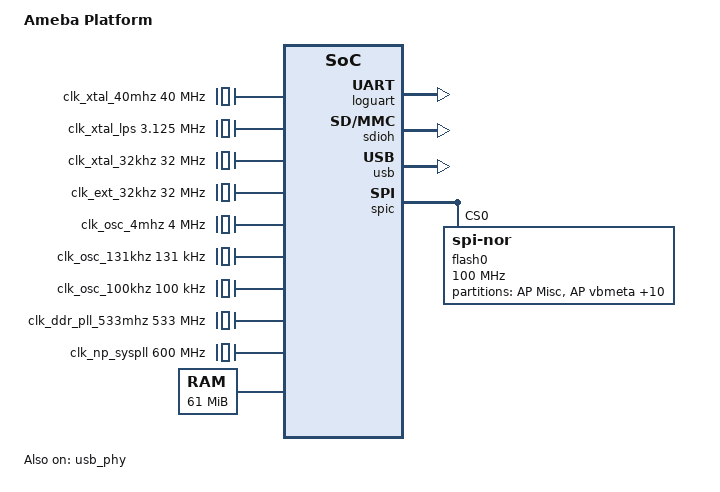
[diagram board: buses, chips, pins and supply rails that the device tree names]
// SPDX-License-Identifier: GPL-2.0-only
/*
* Realtek DTS for recovery
*
* Copyright (C) 2023, Realtek Corporation. All rights reserved.
*/

/dts-v1/;

#include <dt-bindings/interrupt-controller/arm-gic.h>
#include <dt-bindings/realtek/clock/realtek-ameba-clock.h>
#include <dt-bindings/interrupt-controller/irq.h>
#include <dt-bindings/realtek/pinctrl/realtek-ameba-pinfunc.h>

/ {
	model = "Ameba Platform";
	compatible = "realtek,ameba";

	#address-cells = <1>;
	#size-cells = <1>;
	interrupt-parent = <&gic>;

	cpus {
		#address-cells = <1>;
		#size-cells = <0>;

		cpu@0 {
			device_type = "cpu";
			compatible = "arm,cortex-a32";
			reg = <0x0>;
			enable-method = "psci";
			clock-frequency = <800000000>;
			clock-latency = <1000000>;
			clocks = <&rcc RTK_CKE_AP>,
					<&rcc RTK_CKD_AP>,
					<&rcc RTK_CKSL_AP>,
					<&rcc RTK_CLK_AP_PLL>,
					<&clk_np_syspll 0>;
			clock-names = "cpu","cpu-div","cpu-mux","ap-pll","np-pll";
			freq_tab = < 800000 840000 
						880000 920000 
						960000 1000000 
						1040000 1080000 
						1120000 1160000 
						1200000 1240000 
						1280000 1320000 
						1360000 1400000 >;
		};

		cpu@1 {
			device_type = "cpu";
			compatible = "arm,cortex-a32";
			reg = <0x1>;
			enable-method = "psci";
			clock-frequency = <800000000>;
			clock-latency = <1000000>;
			clocks = <&rcc RTK_CKE_AP>,
					<&rcc RTK_CKD_AP>,
					<&rcc RTK_CKSL_AP>,
					<&rcc RTK_CLK_AP_PLL>,
					<&clk_np_syspll 0>;
			clock-names = "cpu","cpu-div","cpu-mux","ap-pll","np-pll";
			freq_tab = < 800000 840000 
						880000 920000 
						960000 1000000 
						1040000 1080000 
						1120000 1160000 
						1200000 1240000 
						1280000 1320000 
						1360000 1400000 >;
		};

	};

	gic: gic@A0101000 {
		compatible = "arm,cortex-a15-gic";
		interrupt-controller;
		#interrupt-cells = <3>;
		reg = <0xA0101000 0x1000>,
			  <0xA0102000 0x0100>,
			  <0x41000010 4>,
			  <0x4200827C 4>;
	};

	psci {
		migrate = <0x84000005>;
		cpu_on = <0x84000003>;
		cpu_off = <0x84000002>;
		cpu_suspend = <0x84000001>;
		method = "smc";
		compatible = "arm,psci-0.2", "arm,psci";
	};

	timer {
		compatible = "arm,armv7-timer";
		clock-frequency = <50000000>;
		interrupts = <GIC_PPI 13 (GIC_CPU_MASK_SIMPLE(4) | IRQ_TYPE_LEVEL_LOW)>,
				 <GIC_PPI 14 (GIC_CPU_MASK_SIMPLE(4) | IRQ_TYPE_LEVEL_LOW)>,
				 <GIC_PPI 11 (GIC_CPU_MASK_SIMPLE(4) | IRQ_TYPE_LEVEL_LOW)>,
				 <GIC_PPI 10 (GIC_CPU_MASK_SIMPLE(4) | IRQ_TYPE_LEVEL_LOW)>;
	};

	clocks {
		clk_xtal_40mhz: crystal_40mhz {
			#clock-cells = <0>;
			compatible = "fixed-clock";
			clock-frequency = <40000000>;
			clock-output-names = "XTAL_40M";
		};

		clk_xtal_lps: crystal_lps {
			#clock-cells = <0>;
			compatible = "fixed-clock";
			clock-frequency = <3125000>;
			clock-output-names = "XTAL_LPS";
		};

		clk_xtal_32khz: crystal_32khz {
			#clock-cells = <0>;
			compatible = "fixed-clock";
			clock-frequency = <32000000>;
			clock-output-names = "XTAL_32K";
		};

		clk_ext_32khz: ext_32khz {
			#clock-cells = <0>;
			compatible = "fixed-clock";
			clock-frequency = <32000000>;
			clock-output-names = "EXT_32K";
		};

		clk_osc_4mhz: oscillator_4mhz {
			#clock-cells = <0>;
			compatible = "fixed-clock";
			clock-frequency = <4000000>;
			clock-output-names = "OSC_4M";
		};

		clk_osc_131khz: oscillator_131khz {
			#clock-cells = <0>;
			compatible = "fixed-clock";
			clock-frequency = <131000>;
			clock-output-names = "OSC_131K";
		};

		clk_osc_100khz: oscillator_100khz {
			#clock-cells = <0>;
			compatible = "fixed-clock";
			clock-frequency = <100000>;
			clock-output-names = "OSC_100K";
		};

		clk_ddr_pll_533mhz: ddr_pll_533mhz {
			#clock-cells = <0>;
			compatible = "fixed-clock";
			clock-frequency = <533000000>;
			clock-output-names = "DDR_PLL_533M";
		};

		clk_np_syspll: np_syspll_600mhz {
			#clock-cells = <0>;
			compatible = "fixed-clock";
			clock-frequency = <600000000>;
			clock-output-names = "NP_SYSPLL";
		};

		clk_i2s_pll0: i2s_pll0 {
			#clock-cells = <0>;
			compatible = "fixed-clock";
			clock-frequency = <98304000>;
			clock-output-names = "I2S_PLL0";
		};

		clk_i2s_pll1: i2s_pll1 {
			#clock-cells = <0>;
			compatible = "fixed-clock";
			clock-frequency = <45158400>;
			clock-output-names = "I2S_PLL1";
		};

		clk_i2s_pll2: i2s_pll2 {
			#clock-cells = <0>;
			compatible = "fixed-clock";
			clock-frequency = <24576000>;
			clock-output-names = "I2S_PLL2";
		};
	};

	ocp {
		compatible = "simple-bus";
		#address-cells = <1>;
		#size-cells = <1>;
		ranges;

		rcc: rcc@41000000 {
			compatible = "realtek,ameba-rcc";
			#reset-cells = <1>;
			#clock-cells = <1>;
			reg = <0x42008000 0x200>,
				<0x42008200 0x200>,
				<0x41000200 0x200>,
				<0x41000000 0x200>;
		};

		loguart: dwapb@4200c000 {
			compatible = "realtek,ameba-loguart";
			reg = <0x4200c000 0x100>;
			interrupts = <GIC_SPI 8 IRQ_TYPE_LEVEL_HIGH>;
			reg-shift = <2>;
			reg-io-width = <1>;
			clocks = <&rcc RTK_CKE_LOGUART>;
			clock-frequency = <40000000>;
		};
		pinctrl: pinctrl@42008A00 {
			compatible = "realtek,ameba-pinctrl";
			#address-cells = <1>;
			#size-cells = <1>;
			reg = <0x42008A00 0x120>;

			sdioh_pins: sdioh@0 {
				pins {
					pinmux = <REALTEK_PINMUX('B', 27, SDIO)>, // SD_CMD
						 <REALTEK_PINMUX('B', 28, SDIO)>,     // SD_CLK
						 <REALTEK_PINMUX('C', 0, SDIO)>,      // SD_CD
						 <REALTEK_PINMUX('B', 29, SDIO)>,     // SD_D0
						 <REALTEK_PINMUX('B', 25, SDIO)>,     // SD_D1
						 <REALTEK_PINMUX('B', 26, SDIO)>,     // SD_D2
						 <REALTEK_PINMUX('B', 30, SDIO)>;     // SD_D3
					bias-pull-up;
					slew-rate = <0>;
					drive-strength = <0>;
				};
			};


		};

		sdioh: sdioh@400D0000 {
			compatible = "realtek,ameba-sdiohost";
			reg = <0x400D0000 0x8000>;
			interrupts = <GIC_SPI 38 IRQ_TYPE_LEVEL_HIGH>;
			clocks = <&rcc RTK_CKE_SDH>;
			pinctrl-names = "default";
			pinctrl-0 = <&sdioh_pins>;
		};

		// Watchdog4 is non-secure for linux system.
		watchdog: wdg@410004C0 {
			compatible = "realtek,ameba-watchdog";
			reg = <0x410004C0 0x000010>;
			interrupts = <GIC_SPI 62 IRQ_TYPE_LEVEL_HIGH>;
			rtk,wdg-index = <4>;
			rtk,wdg-max-timeout = <5000>; // linux system ping: 2.5s, hardware refresh threshold 5s.
			rtk,wdg-window-protection = <0xFFFF>; // 0xFFFF means disable, usually: disabled.
			rtk,wdg-int-trigger-thres = <50>;
			rtk,wdg-interrupt-mode = <1>; // To avoid error alram, interrupt mode is recommended to open.
		};

		otp: otp@0 {
			compatible = "realtek,ameba-otp";
		};

		usb_phy: usb-phy@41000000 {
			compatible = "realtek,otg-phy";
			reg = <0x400B0000 0x20>,
				<0x41000060 4>,
				<0x42000100 0x10>,
				<0x4200825C 4>;
			#phy-cells = <0>;
			clocks = <&rcc RTK_CKE_USB>;
			status = "okay";
		};

		usb: usb@40080000 {
			compatible = "realtek,dwc-otg";
			reg = <0x40080000 0x20000>;
			interrupts = <GIC_SPI 39 IRQ_TYPE_LEVEL_HIGH>;
			g-rx-fifo-size = <512>;
			g-np-tx-fifo-size = <256>;
			g-tx-fifo-size = <128 120>;
			status = "okay";
		};

		lsys: lsys@42008000 {
			compatible = "realtek,ameba-system-ctrl-ls";
			reg = <0x42008000 0x2000>;
		};

		spic: spi@44000000 {
			compatible = "realtek,rxi312-nor";
			#address-cells = <1>;
			#size-cells = <0>;
			bus_num = <2>;
			reg = <0x44000000 0x200>;
			interrupts = <GIC_SPI 19 IRQ_TYPE_LEVEL_HIGH>;
			spi-max-frequency = <100000000>;

			flash0: flash@0 {
				#address-cells = <1>;
				#size-cells = <1>;
				compatible = "jedec,spi-nor";
				spi-max-frequency = <100000000>;
				reg = <0>;

				partitions {
					compatible = "fixed-partitions";
					#address-cells = <1>;
					#size-cells = <1>;

					partition@0 {
						label = "AP Misc";
						reg = <0x620000 0xC000>;
					};
					partition@1 {
						label = "AP vbmeta";
						reg = <0x62C000 0xC000>;
					};
					partition@2 {
						label = "Device tree blob";
						reg = <0xA38000 0x8000>;
					};
					partition@3 {
						label = "Kernel image";
						reg = <0xA40000 0x400000>;
					};
					partition@4 {
						label = "Squashfs filesystem";
						reg = <0xE40000 0x1000000>;
					};
					partition@5 {
						label = "ubi/jffs2 filesystem";
						reg = <0x1E40000 0x1C0000>;
					};
					partition@6 {
						label = "KM4 boot slotA";
						reg = <0x0000000 0x20000>;
					};
					partition@7 {
						label = "KM4 image2 slotA";
						reg = <0x20000 0x120000>;
					};
					partition@8 {
						label = "AP boot image slotA";
						reg = <0x140000 0x180000>;
					};
					partition@9 {
						label = "KM4 boot slotB";
						reg = <0x2C0000 0x40000>;
					};
					partition@10 {
						label = "KM4 image2 slotB";
						reg = <0x300000 0x120000>;
					};
					partition@11 {
						label = "AP boot image slotB";
						reg = <0x420000 0x180000>;
					};
				};
			};
		};
	};

	firmware {
		optee {
			compatible = "linaro,optee-tz";
			method = "smc";
		};
	};

	aliases {
		watchdog0 = "/ocp/wdg0@0x410004C0";
	};

	chosen {
		bootargs = "console=ttyS0,1500000 earlycon psci=enable";
		stdout-path = &loguart;
	};

	memory {
		device_type = "memory";
		// DRAM base address should be 1MB-aligned.
		reg = <0x60300000 0x3D00000>;  // 64MB -- exclude 3MB secure memory
	};
};
